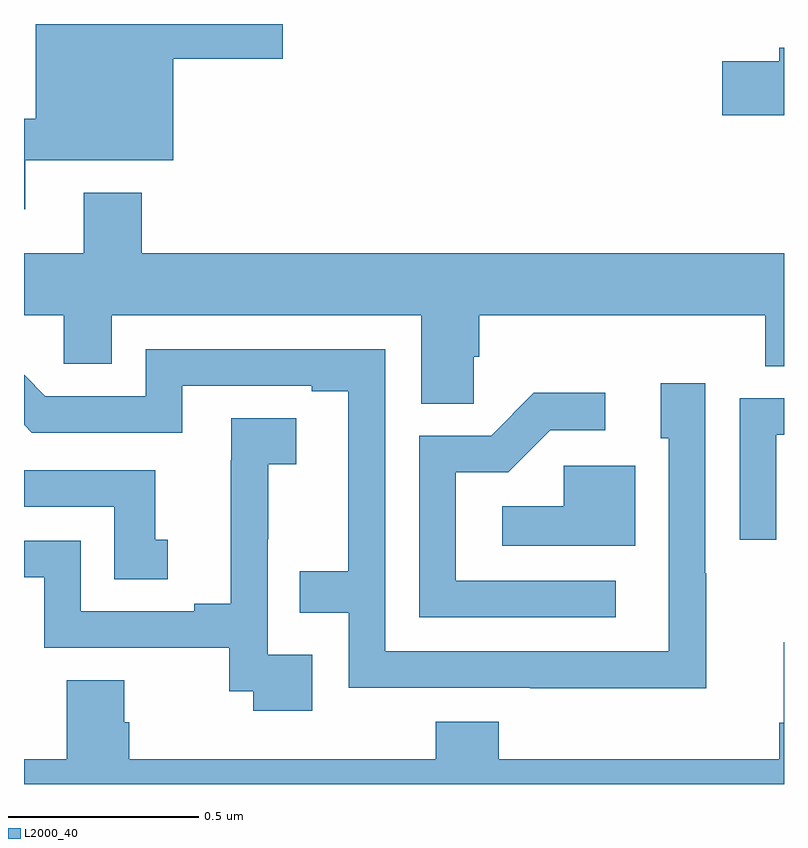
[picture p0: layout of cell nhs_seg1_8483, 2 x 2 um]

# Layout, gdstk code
import gdstk
lib = gdstk.Library(unit=1e-6, precision=1e-09)
def P(c, l, *ps):  # polygons
    for p in ps: c.add(gdstk.Polygon(p, *l))
L2000_40 = (2000, 40)

nhs_seg1_8483 = lib.new_cell('nhs_seg1_8483')
P(nhs_seg1_8483, L2000_40, [(217.003,518.84),(217.393,518.84),(217.393,519.107),(217.681,519.107),(217.681,519.199),(217.031,519.199),(217.031,518.95),(217,518.95),(217,518.712),(217.003,518.712)],
  [(219,519.137),(218.987,519.137),(218.987,519.101),(218.838,519.101),(218.838,518.959),(219,518.959)],
  [(218.184,518.323),(218.198,518.323),(218.198,518.432),(218.951,518.432),(218.951,518.299),(219,518.299),(219,518.596),(217.31,518.596),(217.31,518.755),(217.157,518.755),(217.157,518.596),(217,518.596),(217,518.432),(217.104,518.432),(217.104,518.305),(217.231,518.305),(217.231,518.432),(218.045,518.432),(218.045,518.2),(218.184,518.2)],
  [(218.795,517.754),(218.793,517.754),(218.793,518.254),(218.675,518.254),(218.675,518.109),(218.697,518.109),(218.697,517.548),(217.95,517.548),(217.95,518.343),(217.32,518.343),(217.32,518.22),(217.056,518.22),(217,518.276),(217,518.144),(217.02,518.124),(217.416,518.124),(217.416,518.247),(217.757,518.247),(217.757,518.232),(217.853,518.232),(217.853,517.759),(217.726,517.759),(217.726,517.65),(217.854,517.65),(217.854,517.452),(218.332,517.452),(218.332,517.451),(218.795,517.451)],
  [(218.557,517.734),(218.136,517.734),(218.136,518.019),(218.274,518.019),(218.385,518.13),(218.53,518.13),(218.53,518.228),(218.342,518.228),(218.229,518.115),(218.04,518.115),(218.04,517.638),(218.557,517.638)],
  [(218.979,518.118),(219,518.118),(219,518.214),(218.883,518.214),(218.883,517.842),(218.979,517.842)],
  [(217.759,517.539),(217.641,517.539),(217.641,517.843),(217.643,517.843),(217.643,518.041),(217.717,518.041),(217.717,518.162),(217.546,518.162),(217.546,518.051),(217.544,518.051),(217.544,517.673),(217.448,517.673),(217.448,517.653),(217.149,517.653),(217.149,517.839),(217,517.839),(217,517.743),(217.053,517.743),(217.053,517.557),(217.54,517.557),(217.54,517.443),(217.603,517.443),(217.603,517.392),(217.759,517.392)],
  [(218.608,518.037),(218.421,518.037),(218.421,517.93),(218.259,517.93),(218.259,517.826),(218.608,517.826)],
  [(217.378,517.842),(217.345,517.842),(217.345,518.025),(217,518.025),(217,517.929),(217.238,517.929),(217.238,517.738),(217.378,517.738)],
  [(219,517.572),(218.999,517.572),(218.999,517.36),(218.987,517.36),(218.987,517.264),(218.249,517.264),(218.249,517.363),(218.084,517.363),(218.084,517.264),(217.277,517.264),(217.277,517.362),(217.264,517.362),(217.264,517.472),(217.112,517.472),(217.112,517.264),(217,517.264),(217,517.199),(219,517.199)])

lib.write_gds('nhs_seg1_8483.gds')
